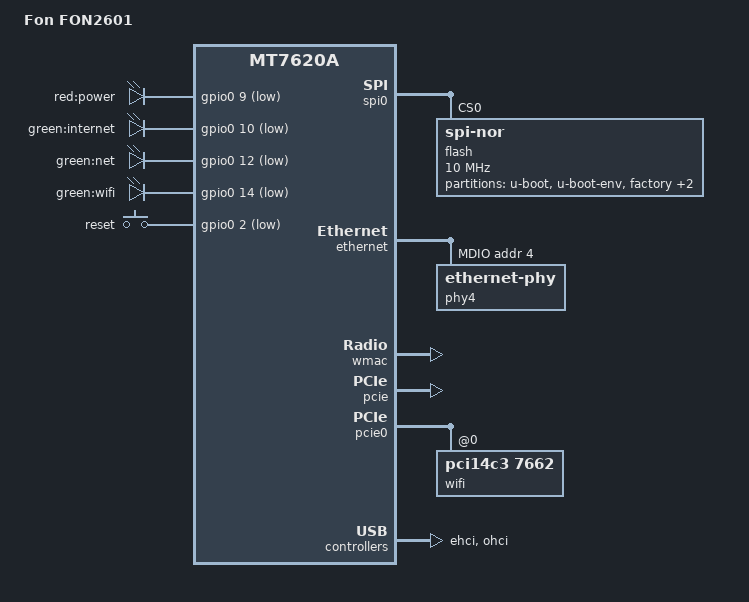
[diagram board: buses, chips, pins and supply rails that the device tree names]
// SPDX-License-Identifier: GPL-2.0-only

#include "mt7620a.dtsi"

#include <dt-bindings/gpio/gpio.h>
#include <dt-bindings/input/input.h>

/ {
	compatible = "fon,fon2601", "ralink,mt7620a-soc";
	model = "Fon FON2601";

	aliases {
		led-boot = &led_power;
		led-failsafe = &led_power;
		led-running = &led_power;
		led-upgrade = &led_power;
	};

	leds {
		compatible = "gpio-leds";

		led_power: power_r {
			label = "red:power";
			gpios = <&gpio0 9 GPIO_ACTIVE_LOW>;
		};

		internet_g {
			label = "green:internet";
			gpios = <&gpio0 10 GPIO_ACTIVE_LOW>;
		};

		net_g {
			label = "green:net";
			gpios = <&gpio0 12 GPIO_ACTIVE_LOW>;
		};

		wifi_g {
			label = "green:wifi";
			gpios = <&gpio0 14 GPIO_ACTIVE_LOW>;
		};
	};

	keys {
		compatible = "gpio-keys";

		reset {
			label = "reset";
			gpios = <&gpio0 2 GPIO_ACTIVE_LOW>;
			linux,code = <KEY_RESTART>;
		};
	};
};

&spi0 {
	status = "okay";

	flash@0 {
		compatible = "jedec,spi-nor";
		reg = <0>;
		spi-max-frequency = <10000000>;

		partitions {
			compatible = "fixed-partitions";
			#address-cells = <1>;
			#size-cells = <1>;

			partition@0 {
				label = "u-boot";
				reg = <0x0 0x30000>;
				read-only;
			};

			partition@30000 {
				label = "u-boot-env";
				reg = <0x30000 0x10000>;
				read-only;
			};

			factory: partition@40000 {
				label = "factory";
				reg = <0x40000 0x10000>;
				read-only;
			};

			partition@50000 {
				compatible = "openwrt,uimage", "denx,uimage";
				openwrt,padding = <32>;
				label = "firmware";
				reg = <0x50000 0xf90000>;
			};

			partition@fe0000 {
				label = "board_data";
				reg = <0xfe0000 0x20000>;
				read-only;
			};
		};
	};
};

&state_default {
	gpio {
		groups = "i2c", "uartf";
		function = "gpio";
	};
	nd_sd {
		groups = "nd_sd";
		function = "sd";
	};
	spi_cs {
		groups = "spi refclk";
		function = "spi refclk";
	};
};

&ethernet {
	pinctrl-names = "default";
	pinctrl-0 = <&rgmii2_pins &mdio_pins>;

	mtd-mac-address = <&factory 0x4>;

	port@4 {
		status = "okay";
		phy-handle = <&phy4>;
		phy-mode = "rgmii";
	};

	mdio-bus {
		status = "okay";

		phy4: ethernet-phy@4 {
			reg = <4>;
			phy-mode = "rgmii";
		};
	};
};

&gsw {
	mediatek,port4-gmac;
	mediatek,ephy-base = /bits/ 8 <8>;
};

&wmac {
	ralink,mtd-eeprom = <&factory 0x0>;
	pinctrl-names = "default";
	pinctrl-0 = <&pa_pins>, <&wled_pins>;
};

&pcie {
	status = "okay";
};
&pcie0 {
	wifi@0,0 {
		compatible = "pci14c3,7662";
		reg = <0x0000 0 0 0 0>;
		mediatek,mtd-eeprom = <&factory 0x8000>;
		ieee80211-freq-limit = <5000000 6000000>;
	};
};

&ehci {
	status = "okay";
};

&ohci {
	status = "okay";
};
